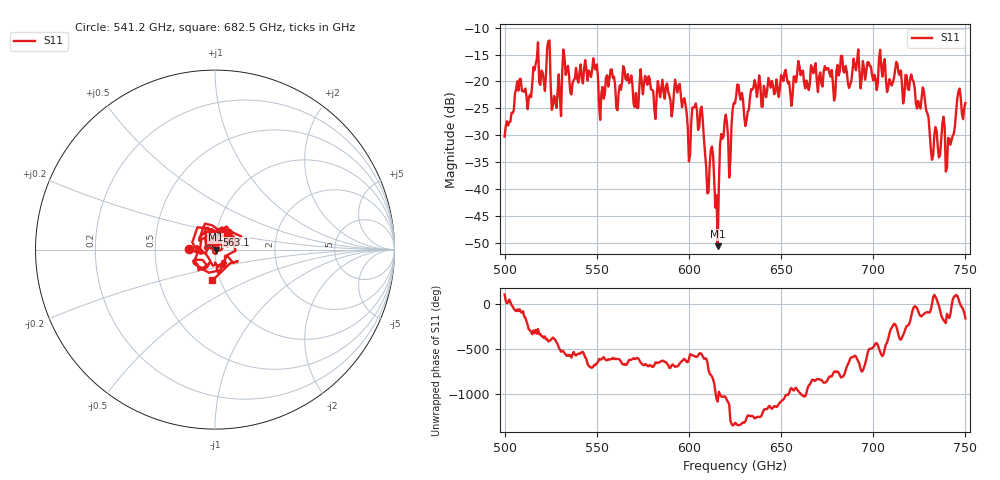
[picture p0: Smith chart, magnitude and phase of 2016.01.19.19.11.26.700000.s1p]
!Created with skrf (http://scikit-rf.org).
# GHz S RI R 50.0
!freq ReS11 ImS11
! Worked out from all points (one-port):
!   401 points, 500 GHz to 750 GHz, reference 50 ohm
!   lowest |S11| = -50.6 dB at 615.6 GHz (marker M1), VSWR 1.01, Z = 50.3 - j0.0207 ohm
!   |S11| at or under -10 dB: start of sweep to end of sweep
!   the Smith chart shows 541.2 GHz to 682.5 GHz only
!   S11 on the Smith chart (normalised r, x): 541.2 GHz: 0.75, +0.01; 563.1 GHz: 1.01, +0.17; 682.5 GHz: 0.92, -0.32
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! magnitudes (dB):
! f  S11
! 500 GHz  -30.3
! 507.5 GHz  -21.7
! 513.8 GHz  -22.5
! 516.9 GHz  -16.7
! 523.8 GHz  -12.5
! 526.9 GHz  -22.7
! 531.2 GHz  -18.2
! 541.2 GHz  -16.8
! 562.5 GHz  -20.7
! 563.1 GHz  -21.5
! 593.8 GHz  -22.1
! 600 GHz  -34.8
! 606.9 GHz  -24.7
! 609.4 GHz  -36.0
! 612.5 GHz  -32.1
! 615.6 GHz  -50.6
! 618.1 GHz  -30.7
! 622.5 GHz  -34.6
! 625 GHz  -24.1
! 656.2 GHz  -22.6
! 682.5 GHz  -15.3
! 687.5 GHz  -20.6
! 718.8 GHz  -21.3
! 727.5 GHz  -21.8
! 731.9 GHz  -34.6
! 740.6 GHz  -30.5
! 746.2 GHz  -21.8
! 750 GHz  -24.0
